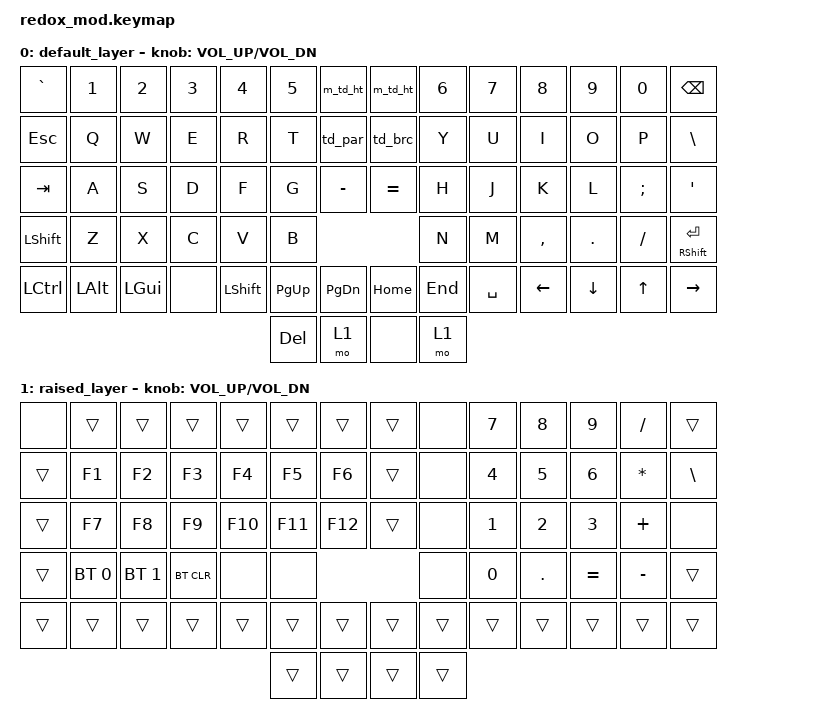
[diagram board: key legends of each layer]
#include <behaviors.dtsi>
#include <dt-bindings/zmk/keys.h>
#include <dt-bindings/zmk/bt.h>


/ {
    behaviors {
        m_td_ht: media_tap_dance_hold_tap {
            compatible = "zmk,behavior-tap-dance";
            label = "MEDIA_TAP_DANCE_HOLD_TAP";
            #binding-cells = <0>;
            tapping-term-ms = <300>;
            bindings = <&mt C_MUTE C_PP>, <&kp C_NEXT>, <&kp C_PREV>;
        };
        td_brc: tap_dance_brackets {
            compatible = "zmk,behavior-tap-dance";
            label = "TAP_DANCE_BRACKETS";
            #binding-cells = <0>;
            bindings = <&kp LBKT>, <&kp RBKT>;
        };
        td_par: tap_dance_parentheses {
            compatible = "zmk,behavior-tap-dance";
            label = "TAP_DANCE_PARENTHESES";
            #binding-cells = <0>;
            bindings = <&kp LPAR>, <&kp RPAR>;
        };
    };

    keymap {
        compatible = "zmk,keymap";
        default_layer {
            sensor-bindings = <&inc_dec_kp C_VOL_UP C_VOL_DN>;

// |   `   |  1  |  2  |  3   |   4   |  5  |       |  MEDIA  | --- | MEIDA  |       |  6  |   7   |  8   |  9   | 0  |    BKSP   |
// | ESC   |  Q  |  W  |  E   |   R   |  T  |  ( )  |           ---          |  [ ]  |  Y  |   U   |  I   |  O   | P  |     \     |
// | TAB   |  A  |  S  |  D   |   F   |  G  |   -   |           ---          |   =   |  H  |   J   |  K   |  L   | ;  |     '     |
// | SHIFT |  Z  |  X  |  C   |   V   |  B  |                                        |  N  |   M   |  ,   |  .   | /  | SHFT(RET) |
// | CRTL  | ALT | GUI | MO 2 | SHIFT |     | PG_UP | PG_DOWN | --- |  HOME  |  END  |     | SPACE | LEFT | DOWN | UP |   RIGHT   |
//                                          |  DEL  |   MO 1  | --- |  MO 2  |  MO 1 |

            bindings = <
&kp GRAVE  &kp N1   &kp N2   &kp N3   &kp N4     &kp N5             &m_td_ht    &m_td_ht           &kp N6 &kp N7    &kp N8    &kp N9   &kp N0   &kp BSPC
&kp ESC    &kp Q    &kp W    &kp E    &kp R      &kp T  &td_par                          &td_brc   &kp Y  &kp U     &kp I     &kp O    &kp P    &kp BSLH
&kp TAB    &kp A    &kp S    &kp D    &kp F      &kp G  &kp MINUS                        &kp EQUAL &kp H  &kp J     &kp K     &kp L    &kp SEMI &kp SQT
&kp LSHIFT &kp Z    &kp X    &kp C    &kp V      &kp B                                             &kp N  &kp M     &kp COMMA &kp DOT  &kp FSLH &mt RSHIFT RET
&kp LCTRL  &kp LALT &kp LGUI &none    &kp LSHIFT        &kp PG_UP &kp PG_DN     &kp HOME &kp END          &kp SPACE &kp LEFT  &kp DOWN &kp UP   &kp RIGHT
                                                        &kp DEL   &mo 1         &none    &mo 1
            >;
        };


        raised_layer {
            sensor-bindings = <&inc_dec_kp C_VOL_UP C_VOL_DN>;

// | NAN   | 1    | 2    | 3      | 4   | 5   |       | MEDIA   | --- | MEIDA |       | NAN | 7    | 8    | 9    | /  | BKSP      |
// | ESC   | F1   | F2   | F3     | F4  | F5  | F6    |           ---         | [ ]   | NAN | 4    | 5    | 6    | *  | \         |
// | TAB   | F7   | F8   | F9     | F10 | F11 | F12   |           ---         | =     | NAN | 1    | 2    | 3    | +  | NAN       |
// | SHIFT | BT 1 | BT 2 | BTCLR  | NAN | NAN |                                       | NAN | 0    | .    | =    | -  | SHFT(RET) |
// | CRTL  | ALT  | GUI  | MO 3   | GUI |     | PG_UP | PG_DOWN | --- | HOME  | END   |     | DEl  | LEFT | DOWN | UP | RIGHT     |
//                                            | SPACE | MO 1    | --- | NAN   | SPACE |
            bindings = <
&none  &trans       &trans       &trans     &trans  &trans          &trans    &trans        &none  &kp N7 &kp N8  &kp N9    &kp FSLH  &trans
&trans &kp F1       &kp F2       &kp F3     &kp F4  &kp F5  &kp F6                   &trans &none  &kp N4 &kp N5  &kp N6    &kp STAR  &kp BSLH
&trans &kp F7       &kp F8       &kp F9     &kp F10 &kp F11 &kp F12                  &trans &none  &kp N1 &kp N2  &kp N3    &kp PLUS  &none
&trans &bt BT_SEL 0 &bt BT_SEL 1 &bt BT_CLR &none   &none                                   &none  &kp N0 &kp DOT &kp EQUAL &kp MINUS &trans
&trans &trans       &trans       &trans     &trans          &trans  &trans    &trans &trans        &trans &trans  &trans    &trans    &trans
                                                            &trans  &trans    &trans &trans
            >;
        };
    };
};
